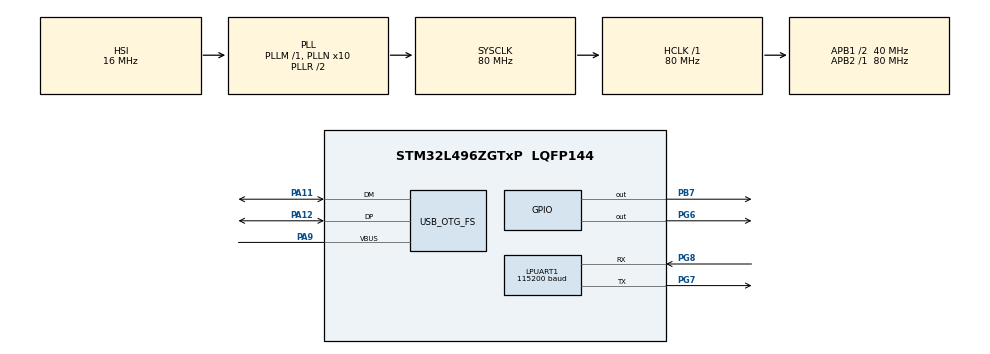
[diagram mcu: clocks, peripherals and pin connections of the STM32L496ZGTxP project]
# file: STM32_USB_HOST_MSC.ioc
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FREERTOS.Tasks01=defaultTask,24,128,StartDefaultTask,Default,NULL,Dynamic,NULL,NULL;uartTask,24,512,StartuartTask,Default,NULL,Dynamic,NULL,NULL;ledTask,24,128,StartledTask,Default,NULL,Dynamic,NULL,NULL
FREERTOS.configTOTAL_HEAP_SIZE=20000
FREERTOS.configUSE_NEWLIB_REENTRANT=1
LPUART1.BaudRate=115200
LPUART1.WordLength=UART_WORDLENGTH_8B
Mcu.Family=STM32L4
Mcu.Name=STM32L496ZGTxP
Mcu.Package=LQFP144
NVIC.OTG_FS_IRQn=true\:5\:0\:false\:false\:true\:true\:false\:true\:true
NVIC.PriorityGroup=NVIC_PRIORITYGROUP_4
NVIC.TIM6_DAC_IRQn=true\:15\:0\:false\:false\:true\:false\:false\:true\:true
NVIC.TimeBase=TIM6_DAC_IRQn
NVIC.TimeBaseIP=TIM6
PA11.Mode=Host_Only
PA11.Signal=USB_OTG_FS_DM
PA12.Mode=Host_Only
PA12.Signal=USB_OTG_FS_DP
PA13\ (JTMS/SWDIO).Mode=Serial_Wire
PA13\ (JTMS/SWDIO).Signal=SYS_JTMS-SWDIO
PA14\ (JTCK/SWCLK).Mode=Serial_Wire
PA14\ (JTCK/SWCLK).Signal=SYS_JTCK-SWCLK
PA9.Mode=Activate_VBUS
PA9.Signal=USB_OTG_FS_VBUS
PB7.Signal=GPIO_Output
PG6.PinState=GPIO_PIN_SET
PG6.Signal=GPIO_Output
PG7.Mode=Asynchronous
PG7.Signal=LPUART1_TX
PG8.Mode=Asynchronous
PG8.Signal=LPUART1_RX
ProjectManager.HeapSize=0x200
ProjectManager.StackSize=0x400
ProjectManager.TargetToolchain=STM32CubeIDE
RCC.48MHZClocksFreq_Value=24000000
RCC.ADCFreq_Value=64000000
RCC.AHBFreq_Value=80000000
RCC.APB1CLKDivider=RCC_HCLK_DIV2
RCC.APB1Freq_Value=40000000
RCC.APB1TimFreq_Value=80000000
RCC.APB2Freq_Value=80000000
RCC.APB2TimFreq_Value=80000000
RCC.CK48CLockSelection=RCC_USBCLKSOURCE_HSI48
RCC.CortexFreq_Value=80000000
RCC.HCLKFreq_Value=80000000
RCC.HSE_VALUE=8000000
RCC.HSI48_VALUE=48000000
RCC.HSI_VALUE=16000000
RCC.LSE_VALUE=32768
RCC.MSI_VALUE=4000000
RCC.PLLMUL=RCC_PLL_MUL9
RCC.PLLN=10
RCC.PLLSourceVirtual=RCC_PLLSOURCE_HSI
RCC.PRESCALERUSB=RCC_USBCLKSOURCE_PLL_DIV1_5
RCC.SYSCLKFreq_VALUE=80000000
RCC.SYSCLKSource=RCC_SYSCLKSOURCE_PLLCLK
RCC.SYSCLKSourceVirtual=RCC_SYSCLKSOURCE_PLLCLK
RCC.USBFreq_Value=48000000
RCC.VCOOutputFreq_Value=160000000
USB_HOST.USBH_HandleTypeDef=hUsbHostFS
USB_HOST.USBH_PROCESS_PRIO=osPriorityNormal
USB_HOST.USBH_PROCESS_STACK_SIZE=1024
USB_HOST.VirtualModeFS=Msc
USB_OTG_FS.VirtualMode=Host_Only
USB_OTG_FS.phy_itface=HCD_PHY_EMBEDDED
VP_FATFS_VS_USB.Mode=USB
VP_FREERTOS_VS_CMSIS_V2.Mode=CMSIS_V2
VP_SYS_VS_tim6.Mode=TIM6
VP_USB_HOST_VS_USB_HOST_MSC_FS.Mode=MSC_FS
board=NUCLEO-L496ZG-P

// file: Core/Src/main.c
/* USER CODE BEGIN Header */
/**
  ******************************************************************************
  * @file           : main.c
  * @brief          : Main program body
  ******************************************************************************
  * @attention
  *
  * Copyright (c) 2026 STMicroelectronics.
  * All rights reserved.
  *
  * This software is licensed under terms that can be found in the LICENSE file
  * in the root directory of this software component.
  * If no LICENSE file comes with this software, it is provided AS-IS.
  *
  ******************************************************************************
  */
/* USER CODE END Header */
#include "main.h"
#include "cmsis_os.h"
#include "fatfs.h"
#include "usb_host.h"

UART_HandleTypeDef hlpuart1;

/* Definitions for defaultTask */
osThreadId_t defaultTaskHandle;
const osThreadAttr_t defaultTask_attributes = {
  .name = "defaultTask",
  .stack_size = 128 * 4,
  .priority = (osPriority_t) osPriorityNormal,
};
/* Definitions for uartTask */
osThreadId_t uartTaskHandle;
const osThreadAttr_t uartTask_attributes = {
  .name = "uartTask",
  .stack_size = 512 * 4,
  .priority = (osPriority_t) osPriorityNormal,
};
/* Definitions for ledTask */
osThreadId_t ledTaskHandle;
const osThreadAttr_t ledTask_attributes = {
  .name = "ledTask",
  .stack_size = 128 * 4,
  .priority = (osPriority_t) osPriorityNormal,
};

void SystemClock_Config(void);
static void MX_GPIO_Init(void);
static void MX_LPUART1_UART_Init(void);
void StartDefaultTask(void *argument);
void StartuartTask(void *argument);
void StartledTask(void *argument);

/* USER CODE BEGIN 0 */

int _write(int fd, unsigned char *buf, int len) {
  if (fd == 1 || fd == 2) {
    HAL_UART_Transmit(&hlpuart1, buf, len, 999);
  }
  return len;
}

uint32_t Baud_Rate = 115200;
uint16_t LED_Delay = 1000;
int baudChanged = 0;

/* USER CODE END 0 */

int main(void)
{

  /* MCU Configuration--------------------------------------------------------*/

  /* Reset of all peripherals, Initializes the Flash interface and the Systick. */
  HAL_Init();

  /* Configure the system clock */
  SystemClock_Config();

  /* Initialize all configured peripherals */
  MX_GPIO_Init();
  MX_LPUART1_UART_Init();
  MX_FATFS_Init();

  /* Init scheduler */
  osKernelInitialize();

  /* Create the thread(s) */
  /* creation of defaultTask */
  defaultTaskHandle = osThreadNew(StartDefaultTask, NULL, &defaultTask_attributes);

  /* creation of uartTask */
  uartTaskHandle = osThreadNew(StartuartTask, NULL, &uartTask_attributes);

  /* creation of ledTask */
  ledTaskHandle = osThreadNew(StartledTask, NULL, &ledTask_attributes);

  /* Start scheduler */
  osKernelStart();

  /* We should never get here as control is now taken by the scheduler */

  /* Infinite loop */
  while (1)
  {

  }
}

void SystemClock_Config(void)
{
  RCC_OscInitTypeDef RCC_OscInitStruct = {0};
  RCC_ClkInitTypeDef RCC_ClkInitStruct = {0};

  /** Configure the main internal regulator output voltage
  */
  if (HAL_PWREx_ControlVoltageScaling(PWR_REGULATOR_VOLTAGE_SCALE1) != HAL_OK)
  {
    Error_Handler();
  }

  /** Initializes the RCC Oscillators according to the specified parameters
  * in the RCC_OscInitTypeDef structure.
  */
  RCC_OscInitStruct.OscillatorType = RCC_OSCILLATORTYPE_HSI48|RCC_OSCILLATORTYPE_HSI;
  RCC_OscInitStruct.HSIState = RCC_HSI_ON;
  RCC_OscInitStruct.HSI48State = RCC_HSI48_ON;
  RCC_OscInitStruct.HSICalibrationValue = RCC_HSICALIBRATION_DEFAULT;
  RCC_OscInitStruct.PLL.PLLState = RCC_PLL_ON;
  RCC_OscInitStruct.PLL.PLLSource = RCC_PLLSOURCE_HSI;
  RCC_OscInitStruct.PLL.PLLM = 1;
  RCC_OscInitStruct.PLL.PLLN = 10;
  RCC_OscInitStruct.PLL.PLLP = RCC_PLLP_DIV2;
  RCC_OscInitStruct.PLL.PLLQ = RCC_PLLQ_DIV2;
  RCC_OscInitStruct.PLL.PLLR = RCC_PLLR_DIV2;
  if (HAL_RCC_OscConfig(&RCC_OscInitStruct) != HAL_OK)
  {
    Error_Handler();
  }

  /** Initializes the CPU, AHB and APB buses clocks
  */
  RCC_ClkInitStruct.ClockType = RCC_CLOCKTYPE_HCLK|RCC_CLOCKTYPE_SYSCLK
                              |RCC_CLOCKTYPE_PCLK1|RCC_CLOCKTYPE_PCLK2;
  RCC_ClkInitStruct.SYSCLKSource = RCC_SYSCLKSOURCE_PLLCLK;
  RCC_ClkInitStruct.AHBCLKDivider = RCC_SYSCLK_DIV1;
  RCC_ClkInitStruct.APB1CLKDivider = RCC_HCLK_DIV2;
  RCC_ClkInitStruct.APB2CLKDivider = RCC_HCLK_DIV1;

  if (HAL_RCC_ClockConfig(&RCC_ClkInitStruct, FLASH_LATENCY_4) != HAL_OK)
  {
    Error_Handler();
  }
}

static void MX_LPUART1_UART_Init(void)
{

  hlpuart1.Instance = LPUART1;
  hlpuart1.Init.BaudRate = 115200;
  hlpuart1.Init.WordLength = UART_WORDLENGTH_8B;
  hlpuart1.Init.StopBits = UART_STOPBITS_1;
  hlpuart1.Init.Parity = UART_PARITY_NONE;
  hlpuart1.Init.Mode = UART_MODE_TX_RX;
  hlpuart1.Init.HwFlowCtl = UART_HWCONTROL_NONE;
  hlpuart1.Init.OneBitSampling = UART_ONE_BIT_SAMPLE_DISABLE;
  hlpuart1.AdvancedInit.AdvFeatureInit = UART_ADVFEATURE_NO_INIT;
  if (HAL_UART_Init(&hlpuart1) != HAL_OK)
  {
    Error_Handler();
  }

}

static void MX_GPIO_Init(void)
{
  GPIO_InitTypeDef GPIO_InitStruct = {0};

  /* GPIO Ports Clock Enable */
  __HAL_RCC_GPIOG_CLK_ENABLE();
  HAL_PWREx_EnableVddIO2();
  __HAL_RCC_GPIOA_CLK_ENABLE();
  __HAL_RCC_GPIOB_CLK_ENABLE();

  /*Configure GPIO pin Output Level */
  HAL_GPIO_WritePin(GPIOG, GPIO_PIN_6, GPIO_PIN_SET);

  /*Configure GPIO pin Output Level */
  HAL_GPIO_WritePin(GPIOB, GPIO_PIN_7, GPIO_PIN_RESET);

  /*Configure GPIO pin : PG6 */
  GPIO_InitStruct.Pin = GPIO_PIN_6;
  GPIO_InitStruct.Mode = GPIO_MODE_OUTPUT_PP;
  GPIO_InitStruct.Pull = GPIO_NOPULL;
  GPIO_InitStruct.Speed = GPIO_SPEED_FREQ_LOW;
  HAL_GPIO_Init(GPIOG, &GPIO_InitStruct);

  /*Configure GPIO pin : PB7 */
  GPIO_InitStruct.Pin = GPIO_PIN_7;
  GPIO_InitStruct.Mode = GPIO_MODE_OUTPUT_PP;
  GPIO_InitStruct.Pull = GPIO_NOPULL;
  GPIO_InitStruct.Speed = GPIO_SPEED_FREQ_LOW;
  HAL_GPIO_Init(GPIOB, &GPIO_InitStruct);

}

void StartDefaultTask(void *argument)
{
  /* init code for USB_HOST */
  MX_USB_HOST_Init();
  for(;;)
  {
    osDelay(1);
  }
}

void StartuartTask(void *argument)
{
  /* USER CODE BEGIN StartuartTask */
  /* Infinite loop */
  for(;;)
  {
	  if (baudChanged == 1)
	  {
		  printf ("Switch the Baud Rate on Console to %lu\r\n", Baud_Rate);
		  HAL_UART_DeInit(&hlpuart1);
		  hlpuart1.Init.BaudRate = Baud_Rate;
		  HAL_UART_Init(&hlpuart1);
		  baudChanged = 0;
	  }
	  printf ("Hello World from USB\r\n");
	  osDelay(1000);
  }
  /* USER CODE END StartuartTask */
}

void StartledTask(void *argument)
{
  /* USER CODE BEGIN StartledTask */
  /* Infinite loop */
  for(;;)
  {
	  HAL_GPIO_TogglePin(GPIOB, GPIO_PIN_7);
	  osDelay(LED_Delay);
  }
  /* USER CODE END StartledTask */
}

void HAL_TIM_PeriodElapsedCallback(TIM_HandleTypeDef *htim)
{
  if (htim->Instance == TIM6)
  {
    HAL_IncTick();
  }
}

void Error_Handler(void)
{
  __disable_irq();
  while (1)
  {
  }
}
